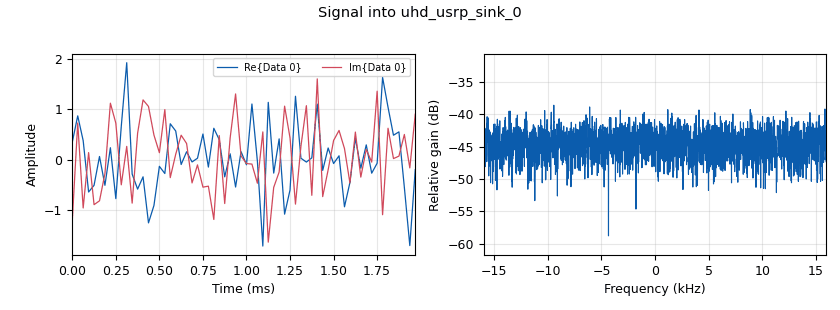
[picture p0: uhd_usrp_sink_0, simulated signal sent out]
options:
  parameters:
    author: niwcpac
    generate_options: qt_gui
    id: AGWN
    output_language: python
    title: AGWN
  states: {}

blocks:
- name: samp_rate
  id: variable
  parameters:
    value: '32000'
  states: {}
- name: analog_noise_source_x_0
  id: analog_noise_source_x
  parameters:
    amp: '1'
    noise_type: analog.GR_GAUSSIAN
    seed: '0'
    type: complex
  states: {}
- name: uhd_usrp_sink_0
  id: uhd_usrp_sink
  parameters:
    ant0: '"TX/RX"'
    center_freq0: '0'
    gain0: '0'
    samp_rate: samp_rate
    sync: sync
    type: fc32
  states: {}

connections:
- [analog_noise_source_x_0, '0', uhd_usrp_sink_0, '0']

metadata:
  file_format: 1
